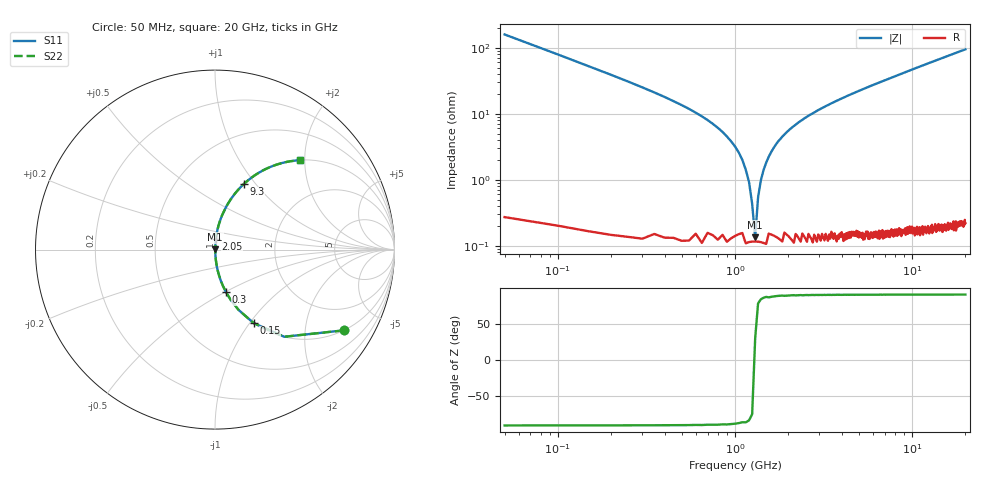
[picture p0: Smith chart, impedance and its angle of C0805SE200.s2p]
! AVX Thin Film Operation		Date: April 2012
! Description: Accu-P® Series, Thin Film, SMD, RF Capacitor
! Part Number: 08055J200FBTTR
!	50	MHz	-	20.05	GHz
!	Serial	Measurements
#	MHZ	S	MA	R	50
!	S11	S21	S12	S22
!	dB	Phase	dB	Phase	dB	Phase	dB	Phase
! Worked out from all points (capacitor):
!   400 points, 50 MHz to 20 GHz, reference 50 ohm
!   read as one part in series: C = 20 pF near 150 MHz
!   lowest |Z| = 134 mohm at 1.3 GHz (marker M1)
!   series resonance near 1.293 GHz, so ESL is about 760 pH
!   S11 on the Smith chart (normalised r, x): 50 MHz: 1.00, -3.18; 150 MHz: 1.00, -1.05; 300 MHz: 1.00, -0.50; 2.05 GHz: 1.00, +0.12; 9.3 GHz: 1.00, +0.87; 20 GHz: 1.00, +1.90
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50  0.846 -32.2  0.532 57.7  0.532 57.7  0.846 -32.2
100  0.62 -51.6  0.783 38.3  0.783 38.3  0.62 -51.6
150  0.463 -62.2  0.885 27.6  0.885 27.6  0.463 -62.2
300  0.243 -75.6  0.969 14.1  0.969 14.1  0.243 -75.6
850  0.053 -85.5  0.997 3.0  0.997 3.0  0.053 -85.5
1050  0.026 -85.6  0.998 1.5  0.998 1.5  0.026 -85.6
1200  0.009272 -81.3  0.999 0.5  0.999 0.5  0.009272 -81.3
1250  0.004356 -72.1  0.999 0.2  0.999 0.2  0.004356 -72.1
1300  0.001481 26.9  0.999 -0.0  0.999 -0.0  0.001481 26.9
1350  0.005474 75.7  0.999 -0.3  0.999 -0.3  0.005474 75.7
1400  0.00988 81.8  0.999 -0.6  0.999 -0.6  0.00988 81.8
1500  0.018 84.8  0.999 -1.1  0.999 -1.1  0.018 84.8
1750  0.038 85.8  0.998 -2.2  0.998 -2.2  0.038 85.8
2050  0.059 85.3  0.997 -3.4  0.997 -3.4  0.059 85.3
2650  0.096 83.7  0.994 -5.5  0.994 -5.5  0.096 83.7
3400  0.137 81.6  0.989 -7.9  0.989 -7.9  0.137 81.6
6700  0.293 72.7  0.955 -17.0  0.955 -17.0  0.293 72.7
9300  0.398 66.3  0.916 -23.4  0.916 -23.4  0.398 66.3
10050  0.425 64.6  0.904 -25.2  0.904 -25.2  0.425 64.6
13350  0.532 57.7  0.845 -32.1  0.845 -32.1  0.532 57.7
16700  0.619 51.6  0.784 -38.3  0.784 -38.3  0.619 51.6
20000  0.687 46.5  0.725 -43.4  0.725 -43.4  0.687 46.5
